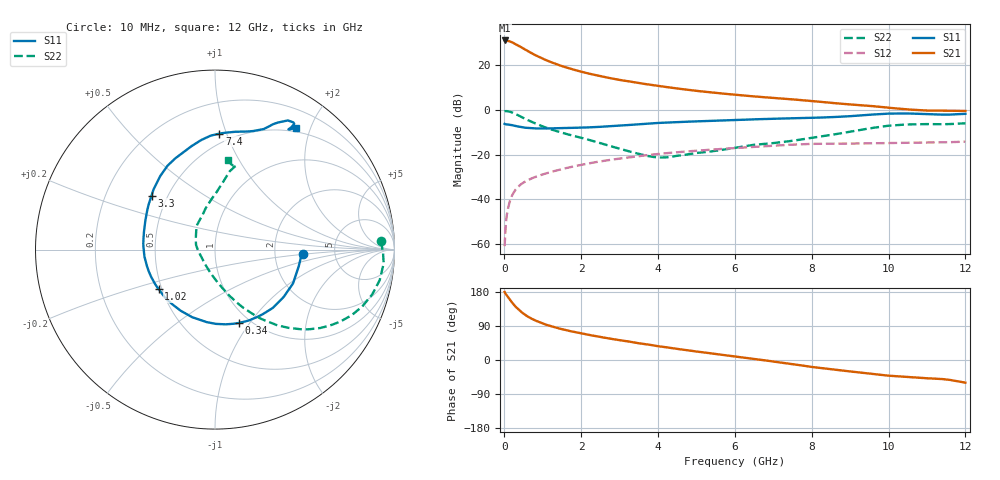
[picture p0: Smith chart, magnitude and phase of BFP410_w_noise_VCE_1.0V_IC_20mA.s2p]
! Infineon Technologies  Discrete & RF Semiconductors
! BFP410
! VCE =  1.0 V,  IC =  20 mA
! Common Emitter S-Parameters:  Nov 2015
# GHz  S  MA  R  50
!  f  S11  S21  S12  S22
! GHz  MAG  ANG  MAG  ANG  MAG  ANG  MAG  ANG
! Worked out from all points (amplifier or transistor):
!   243 points, 10 MHz to 12 GHz, reference 50 ohm
!   highest |S21| = 31.1 dB at 20 MHz (marker M1)
!   |S21| within 3 dB of that: start of sweep to 437.7 MHz
!   unconditionally stable (mu >= 1): start of sweep to 18.7 MHz; 1.697 GHz to end of sweep
!   at 240 MHz: K = 0.30, MSG = 33.5 dB, |S12| = -37.1 dB
!   at 1.84 GHz: K = 1.03, MAG = 20.4 dB, |S12| = -25.1 dB
!   at 12 GHz: K = 1.01, MAG = 6.3 dB, |S12| = -14.2 dB
!   lowest NFmin = 1.70 dB at 900 MHz
!   S11 on the Smith chart (normalised r, x): 10 MHz: 2.90, -0.17; 340 MHz: 0.89, -0.89; 1.02 GHz: 0.48, -0.25; 3.3 GHz: 0.41, +0.31; 7.4 GHz: 0.43, +0.94; 12 GHz: 0.44, +1.79
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0.01  0.4885 -2.6  35.24 179.6  0.0009 97.9  0.9261 2.9
0.02  0.4814 -4.6  35.7 177.0  0.0014 93.6  0.9365 -1.1
0.1  0.4738 -23.5  34.96 165.6  0.0063 81.2  0.9331 -10.6
0.15  0.4648 -34.6  33.88 158.5  0.0093 77.9  0.9103 -16.0
0.2  0.4576 -45.2  32.63 152.1  0.012 74.4  0.8796 -21.1
0.26  0.4439 -57.2  30.73 144.8  0.0149 70.4  0.837 -26.4
0.34  0.4298 -71.9  28.28 136.3  0.0183 66.6  0.7762 -32.6
0.46  0.412 -90.6  24.62 125.5  0.0225 62.3  0.6887 -40.1
0.6  0.3975 -108.7  20.94 115.3  0.0265 59.2  0.5994 -46.7
0.7  0.3905 -119.4  18.78 109.6  0.0291 57.8  0.5468 -50.5
0.8  0.3866 -128.5  16.91 104.6  0.0315 56.9  0.5016 -53.5
1.02  0.3838 -145.0  13.76 95.6  0.0365 55.6  0.4215 -59.2
1.4  0.39 -165.4  10.2 83.9  0.0451 54.3  0.3274 -66.8
2.02  0.4027 172.2  7.089 70.0  0.0596 51.4  0.2361 -76.5
2.6  0.4246 155.3  5.449 59.0  0.0728 47.3  0.1706 -88.3
3.3  0.4642 139.6  4.255 47.8  0.0884 41.8  0.1153 -109.8
4.1  0.5154 125.2  3.351 35.2  0.1056 34.9  0.0863 -152.8
6.1  0.5965 101.4  2.147 8.1  0.1419 17.3  0.1466 135.8
7.4  0.6467 87.8  1.747 -9.5  0.166 4.6  0.199 111.8
8.2  0.6735 77.3  1.524 -20.7  0.1745 -4.7  0.2523 99.2
10.2  0.8292 59.5  1.079 -42.8  0.1818 -20.8  0.4557 78.3
12  0.8175 56.3  0.949 -59.8  0.1953 -35.4  0.5023 81.6
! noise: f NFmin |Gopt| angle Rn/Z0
0.45  1.73  0.14  -155  0.16
0.9  1.7  0.14  -156  0.16
1.8  1.84  0.19  -141  0.17
2.4  1.84  0.24  -124  0.23
5.5  2.72  0.43  -103  0.42
10  3.83  0.7  -46  2.5
